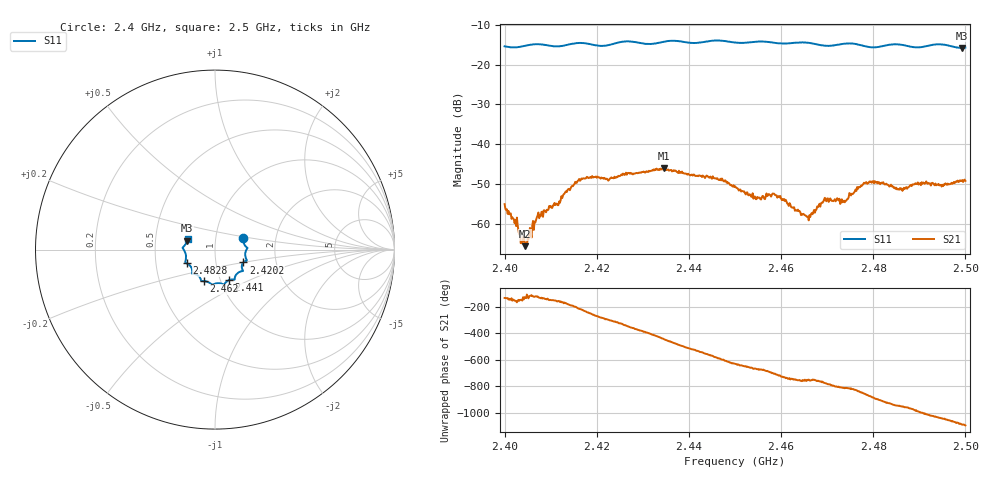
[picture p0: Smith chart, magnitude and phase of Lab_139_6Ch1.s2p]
# Hz S RI R 50
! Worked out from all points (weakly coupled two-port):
!   601 points, 2.4 GHz to 2.5 GHz, reference 50 ohm
!   highest |S21| = -45.93 dB at 2.4345 GHz (marker M1); lowest = -65.6 dB at 2.4045 GHz (marker M2)
!   lowest |S11| = -15.8 dB at 2.4992 GHz (marker M3), VSWR 1.39, Z = 36.4 + j3.68 ohm
!   |S11| at or under -10 dB: start of sweep to end of sweep
!   S12 and S22 are empty: the file has one direction only
!   S11 on the Smith chart (normalised r, x): 2.4 GHz: 1.36, +0.18; 2.4202 GHz: 1.36, -0.20; 2.441 GHz: 1.10, -0.39; 2.462 GHz: 0.84, -0.30; 2.4828 GHz: 0.72, -0.11; 2.5 GHz: 0.73, +0.09
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2.4e9  0.1583 0.0625  -0.00122 -0.00129  0 0  0 0
2.4045e9  0.1723 0.0165  -0.000356 -0.000387  0 0  0 0
2.4075e9  0.1804 0.00807  -0.000761 -0.000901  0 0  0 0
2.416667e9  0.1772 -0.0607  -0.0028 0.00245  0 0  0 0
2.420167e9  0.1582 -0.0714  8.78e-06 0.00394  0 0  0 0
2.433333e9  0.1117 -0.1509  0.00196 -0.00434  0 0  0 0
2.4345e9  0.1098 -0.1601  0.000673 -0.00501  0 0  0 0
2.441e9  0.0783 -0.17  -0.00399 -0.00121  0 0  0 0
2.45e9  0.0282 -0.1877  -6.21e-06 0.00297  0 0  0 0
2.4545e9  -0.0105 -0.1944  0.00121 0.00166  0 0  0 0
2.4585e9  -0.0287 -0.1861  0.00231 0.000633  0 0  0 0
2.462e9  -0.0607 -0.1758  0.00155 -0.000813  0 0  0 0
2.4655e9  -0.077 -0.1731  0.000976 -0.000775  0 0  0 0
2.466667e9  -0.0788 -0.1679  0.00115 -0.000741  0 0  0 0
2.469667e9  -0.0927 -0.1458  0.00114 -0.00162  0 0  0 0
2.473833e9  -0.1248 -0.1351  -0.000118 -0.00187  0 0  0 0
2.478167e9  -0.1275 -0.1136  -0.00233 -0.00224  0 0  0 0
2.482833e9  -0.1576 -0.0767  -0.00293 0.00129  0 0  0 0
2.483333e9  -0.1606 -0.0752  -0.00274 0.00136  0 0  0 0
2.486e9  -0.1653 -0.067  -0.00176 0.00207  0 0  0 0
2.499167e9  -0.1549 0.0492  0.00344 -0.000382  0 0  0 0
2.5e9  -0.1523 0.0611  0.00337 -0.000847  0 0  0 0
